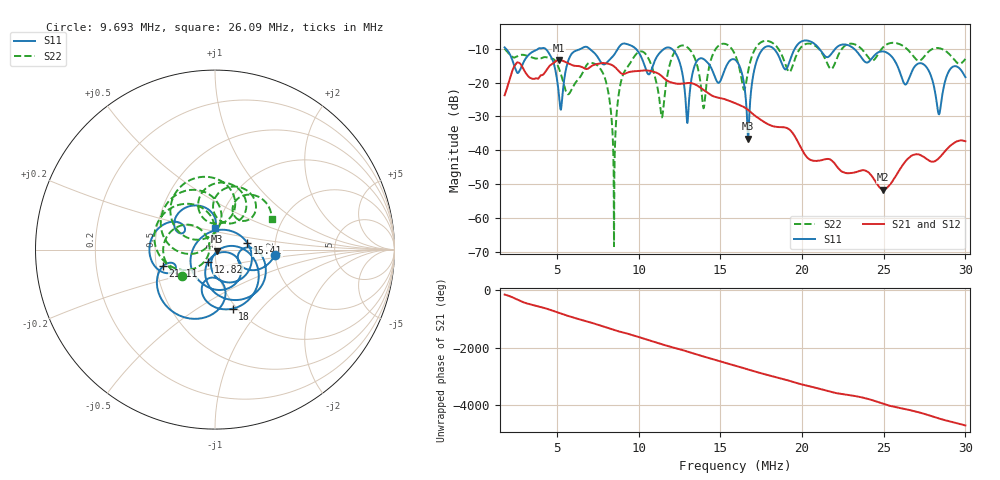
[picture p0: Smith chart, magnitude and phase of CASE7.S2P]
!Agilent Technologies,E5061B,MY49101568,A.02.00
!Date: Wed Mar 01 14:26:56 2023
!Data & Calibration Information:
!Freq	S11:SOLT2(OFF)	S21:SOLT2(OFF)	S12:SOLT2(OFF)	S22:SOLT2(OFF)
# Hz S dB R 50
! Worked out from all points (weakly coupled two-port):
!   1155 points, 1.8 MHz to 30 MHz, reference 50 ohm
!   highest |S21| = -13.30 dB at 5.123 MHz (marker M1); lowest = -51.6 dB at 24.97 MHz (marker M2)
!   lowest |S11| = -36.6 dB at 16.71 MHz (marker M3), VSWR 1.03, Z = 51.1 - j1.03 ohm
!   |S11| at or under -10 dB: 4.289 MHz to 6.479 MHz (2.19 MHz wide, 40.7 % of centre); 12.02 MHz to 17.62 MHz (5.604 MHz wide, 37.8 % of centre); 23.18 MHz to end of sweep (the widest 3 of 8)
!   |S22| runs from -68.3 to -7.7 dB; largest |S21 - S12| = 0.0029
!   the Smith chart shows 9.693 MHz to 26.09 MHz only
!   S11 on the Smith chart (normalised r, x): 9.693 MHz: 2.00, -0.13; 12.82 MHz: 0.92, -0.12; 15.41 MHz: 1.43, +0.11; 18 MHz: 0.96, -0.71; 21.11 MHz: 0.54, -0.11; 26.09 MHz: 0.97, +0.24
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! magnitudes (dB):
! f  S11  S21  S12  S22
! 1.8 MHz  -9.6  -23.8  -23.8  -10.0
! 4.317 MHz  -10.1  -16.6  -16.6  -12.5
! 5.123 MHz  -23.5  -13.3  -13.3  -15.8
! 6.516 MHz  -9.9  -15.4  -15.3  -17.6
! 7.86 MHz  -14.6  -14.2  -14.2  -17.6
! 8.496 MHz  -11.8  -15.2  -15.2  -68.3
! 8.887 MHz  -9.0  -17.1  -17.0  -20.5
! 9.693 MHz  -9.5  -16.7  -16.7  -12.6
! 11.21 MHz  -11.7  -17.3  -17.4  -22.9
! 12.82 MHz  -22.2  -20.2  -20.3  -9.1
! 13.97 MHz  -13.0  -22.1  -22.2  -27.6
! 15.41 MHz  -14.7  -25.1  -25.2  -8.8
! 15.9 MHz  -13.2  -26.1  -26.1  -11.7
! 16.71 MHz  -36.6  -28.1  -28.1  -16.6
! 18 MHz  -9.3  -32.5  -32.6  -7.8
! 20.62 MHz  -8.1  -43.0  -43.0  -8.7
! 21.11 MHz  -10.3  -43.0  -42.9  -10.5
! 24.97 MHz  -10.8  -51.6  -51.5  -9.6
! 25.31 MHz  -11.5  -50.5  -50.5  -8.5
! 26.09 MHz  -18.3  -44.9  -44.8  -8.9
! 28.39 MHz  -29.4  -42.3  -42.2  -9.8
! 30 MHz  -18.4  -37.3  -37.3  -13.0
